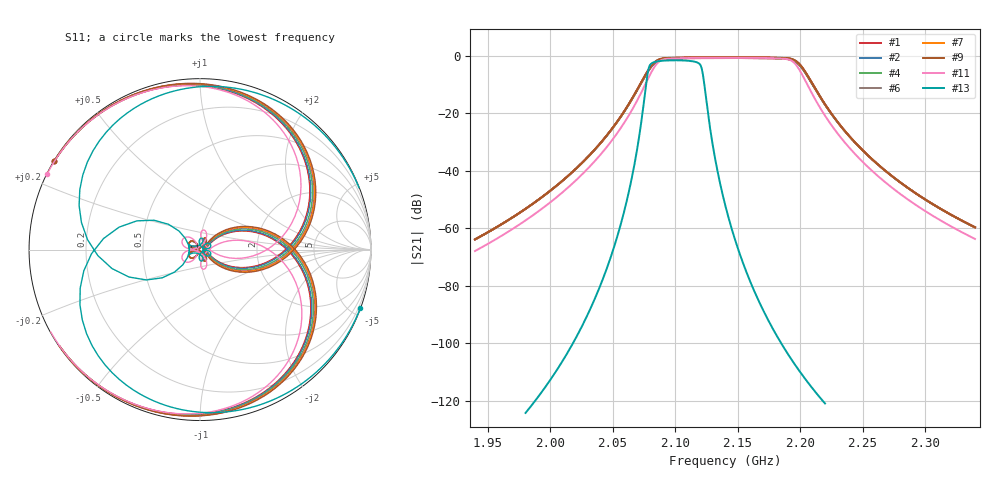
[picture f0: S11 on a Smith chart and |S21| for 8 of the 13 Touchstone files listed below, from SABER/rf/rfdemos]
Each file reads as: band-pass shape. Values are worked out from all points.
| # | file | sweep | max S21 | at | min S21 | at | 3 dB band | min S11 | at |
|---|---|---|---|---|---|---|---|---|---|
| 1 | AWS_Filter_1.s2p | 1.94 GHz to 2.34 GHz | -0.72 dB | 2.14 GHz | -63.9 dB | 1.94 GHz | 2.082 GHz-2.2 GHz | -40.1 dB | 2.14 GHz |
| 2 | AWS_Filter_2.s2p | 1.94 GHz to 2.34 GHz | -0.68 dB | 2.14 GHz | -63.9 dB | 1.94 GHz | 2.082 GHz-2.2 GHz | -40.6 dB | 2.14 GHz |
| 3 | AWS_Filter_3.s2p | 1.94 GHz to 2.34 GHz | -0.64 dB | 2.14 GHz | -63.9 dB | 1.94 GHz | 2.082 GHz-2.2 GHz | -41.1 dB | 2.14 GHz |
| 4 | AWS_Filter_4.s2p | 1.94 GHz to 2.34 GHz | -0.61 dB | 2.14 GHz | -63.9 dB | 1.94 GHz | 2.082 GHz-2.2 GHz | -41.5 dB | 2.14 GHz |
| 5 | AWS_Filter_5.s2p | 1.94 GHz to 2.34 GHz | -0.58 dB | 2.14 GHz | -63.9 dB | 1.94 GHz | 2.082 GHz-2.2 GHz | -41.9 dB | 2.14 GHz |
| 6 | AWS_Filter_6.s2p | 1.94 GHz to 2.34 GHz | -0.55 dB | 2.14 GHz | -63.9 dB | 1.94 GHz | 2.081 GHz-2.2 GHz | -42.3 dB | 2.14 GHz |
| 7 | AWS_Filter_7.s2p | 1.94 GHz to 2.34 GHz | -0.53 dB | 2.14 GHz | -63.9 dB | 1.94 GHz | 2.081 GHz-2.2 GHz | -42.7 dB | 2.14 GHz |
| 8 | AWS_Filter_8.s2p | 1.94 GHz to 2.34 GHz | -0.50 dB | 2.14 GHz | -63.9 dB | 1.94 GHz | 2.081 GHz-2.2 GHz | -43.1 dB | 2.14 GHz |
| 9 | AWS_Filter_9.s2p | 1.94 GHz to 2.34 GHz | -0.48 dB | 2.14 GHz | -63.9 dB | 1.94 GHz | 2.081 GHz-2.2 GHz | -43.4 dB | 2.14 GHz |
| 10 | AWS_Filter_10.s2p | 1.94 GHz to 2.34 GHz | -0.79 dB | 2.14 GHz | -67.9 dB | 1.94 GHz | 2.084 GHz-2.197 GHz | -36.2 dB | 2.14 GHz |
| 11 | AWS_Filter_11.s2p | 1.94 GHz to 2.34 GHz | -0.63 dB | 2.14 GHz | -67.9 dB | 1.94 GHz | 2.084 GHz-2.197 GHz | -38.0 dB | 2.14 GHz |
| 12 | AWS_Filter_12.s2p | 1.94 GHz to 2.34 GHz | -0.52 dB | 2.14 GHz | -67.9 dB | 1.94 GHz | 2.084 GHz-2.197 GHz | -39.4 dB | 2.14 GHz |
| 13 | RFBudget_RF.s2p | 1.98 GHz to 2.22 GHz | -1.53 dB | 2.1 GHz | -124.3 dB | 1.98 GHz | 2.079 GHz-2.121 GHz | -35.6 dB | 2.1 GHz |
